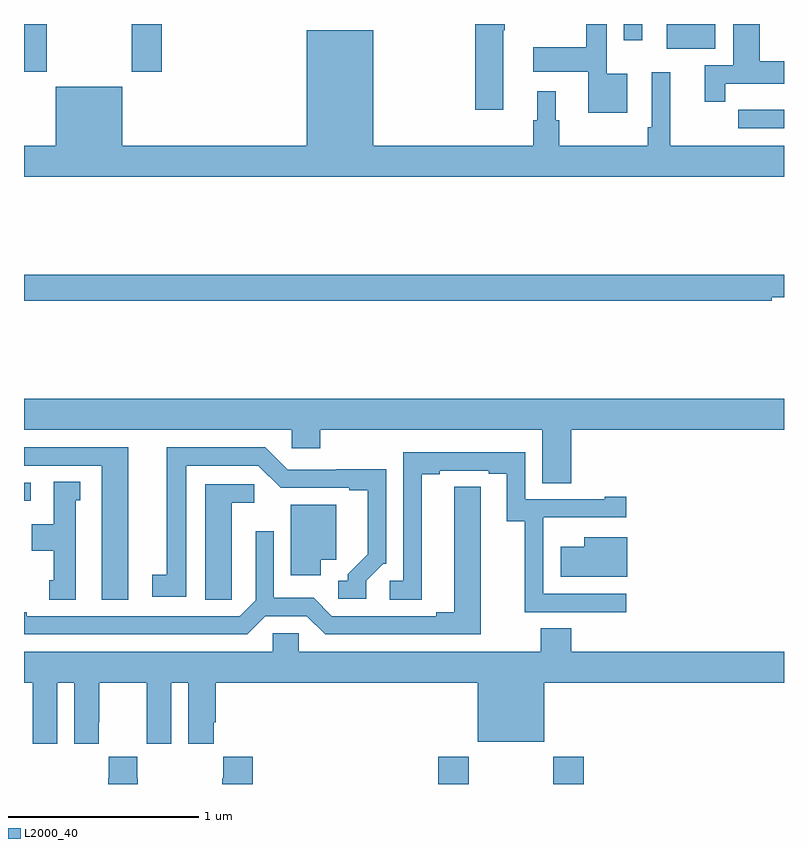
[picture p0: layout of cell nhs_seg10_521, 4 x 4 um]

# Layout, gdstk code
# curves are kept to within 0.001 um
import gdstk
lib = gdstk.Library(unit=1e-6, precision=1e-09)
def R(c, l, rs):  # rectangles x0, y0, x1, y1
    for r in rs: c.add(gdstk.rectangle(r[:2], r[2:], *l))
def P(c, l, *ps):  # polygons
    for p in ps: c.add(gdstk.Polygon(p, *l))
L2000_40 = (2000, 40)

nhs_seg10_521 = lib.new_cell('nhs_seg10_521')
R(nhs_seg10_521, L2000_40, [(139.181,1250.5,139.341,1250.644), (139.786,1250.5,139.946,1250.644), (137,1251.99,137.035,1252.086), (137,1254.249,137.121,1254.5), (137.566,1254.249,137.726,1254.5), (140.384,1254.371,140.638,1254.5), (140.157,1254.414,140.254,1254.5)])
P(nhs_seg10_521, L2000_40, [(140.176,1254.238),(140.067,1254.238),(140.067,1254.5),(139.959,1254.5),(139.959,1254.378),(139.68,1254.378),(139.68,1254.248),(139.97,1254.248),(139.97,1254.032),(140.176,1254.032)],
  [(140.69,1254.186),(141,1254.186),(141,1254.303),(140.872,1254.303),(140.872,1254.5),(140.732,1254.5),(140.732,1254.282),(140.582,1254.282),(140.582,1254.09),(140.69,1254.09)],
  [(139.522,1254.466),(139.53,1254.466),(139.53,1254.5),(139.376,1254.5),(139.376,1254.048),(139.522,1254.048)],
  [(137.168,1254.169),(137.168,1253.86),(137,1253.86),(137,1253.696),(141,1253.696),(141,1253.86),(140.402,1253.86),(140.402,1254.247),(140.304,1254.247),(140.304,1253.956),(140.284,1253.956),(140.284,1253.86),(139.817,1253.86),(139.817,1253.994),(139.798,1253.994),(139.798,1254.145),(139.7,1254.145),(139.7,1253.994),(139.681,1253.994),(139.681,1253.86),(138.838,1253.86),(138.838,1254.466),(138.488,1254.466),(138.488,1253.86),(137.518,1253.86),(137.518,1254.169)],
  [(141,1254.049),(140.872,1254.049),(140.872,1254.048),(140.76,1254.048),(140.76,1253.952),(141,1253.952)],
  [(140.936,1253.063),(141,1253.063),(141,1253.18),(137,1253.18),(137,1253.044),(140.936,1253.044)],
  [(139.88,1252.364),(141,1252.364),(141,1252.528),(137,1252.528),(137,1252.364),(138.408,1252.364),(138.408,1252.266),(138.56,1252.266),(138.56,1252.364),(139.727,1252.364),(139.727,1252.084),(139.88,1252.084)],
  [(137.548,1252.272),(137,1252.272),(137,1252.176),(137.408,1252.176),(137.408,1251.471),(137.548,1251.471)],
  [(138.801,1251.57),(138.891,1251.66),(138.906,1251.66),(138.906,1252.157),(138.643,1252.157),(138.643,1252.155),(138.387,1252.155),(138.27,1252.272),(137.75,1252.272),(137.75,1251.602),(137.676,1251.602),(137.676,1251.486),(137.854,1251.486),(137.854,1252.176),(138.234,1252.176),(138.351,1252.059),(138.713,1252.059),(138.713,1252.047),(138.809,1252.047),(138.809,1251.71),(138.704,1251.605),(138.704,1251.57),(138.654,1251.57),(138.654,1251.474),(138.801,1251.474)],
  [(140.17,1251.501),(139.734,1251.501),(139.734,1251.902),(139.736,1251.902),(139.736,1251.903),(140.17,1251.903),(140.17,1252.012),(140.057,1252.012),(140.057,1251.999),(139.638,1251.999),(139.638,1252.245),(138.996,1252.245),(138.996,1251.57),(138.924,1251.57),(138.924,1251.469),(139.093,1251.469),(139.093,1252.129),(139.189,1252.129),(139.189,1252.149),(139.445,1252.149),(139.445,1252.134),(139.541,1252.134),(139.541,1251.883),(139.636,1251.883),(139.636,1251.405),(140.17,1251.405)],
  [(137.272,1251.993),(137.296,1251.993),(137.296,1252.091),(137.156,1252.091),(137.156,1251.868),(137.042,1251.868),(137.042,1251.728),(137.156,1251.728),(137.156,1251.573),(137.132,1251.573),(137.132,1251.471),(137.272,1251.471)],
  [(138.093,1251.577),(138.094,1251.577),(138.094,1251.98),(138.211,1251.98),(138.211,1252.077),(137.954,1252.077),(137.954,1251.469),(138.093,1251.469)],
  [(138.271,1251.384),(138.489,1251.384),(138.585,1251.288),(139.405,1251.288),(139.404,1252.064),(139.265,1252.064),(139.265,1251.404),(139.169,1251.404),(139.169,1251.384),(138.621,1251.384),(138.525,1251.48),(138.315,1251.48),(138.315,1251.829),(138.219,1251.829),(138.219,1251.468),(138.135,1251.384),(137.014,1251.384),(137.014,1251.404),(137,1251.404),(137,1251.288),(138.175,1251.288)],
  [(138.562,1251.68),(138.643,1251.68),(138.643,1251.97),(138.404,1251.97),(138.404,1251.6),(138.562,1251.6)],
  [(140.176,1251.799),(139.949,1251.799),(139.949,1251.748),(139.824,1251.748),(139.824,1251.59),(140.176,1251.59)],
  [(137.176,1251.032),(137.264,1251.032),(137.264,1250.712),(137.394,1250.712),(137.394,1250.824),(137.395,1250.824),(137.395,1251.032),(137.645,1251.032),(137.645,1250.824),(137.646,1250.824),(137.646,1250.712),(137.776,1250.712),(137.776,1251.032),(137.864,1251.032),(137.864,1250.712),(137.998,1250.712),(137.998,1250.824),(138.008,1250.824),(138.008,1251.032),(139.388,1251.032),(139.388,1250.723),(139.738,1250.723),(139.738,1251.032),(141,1251.032),(141,1251.196),(139.88,1251.196),(139.88,1251.32),(139.72,1251.32),(139.72,1251.196),(138.447,1251.196),(138.447,1251.294),(138.309,1251.294),(138.309,1251.196),(137,1251.196),(137,1251.032),(137.045,1251.032),(137.045,1250.824),(137.046,1250.824),(137.046,1250.712),(137.176,1250.712)],
  [(137.598,1250.531),(137.595,1250.531),(137.595,1250.644),(137.445,1250.644),(137.445,1250.531),(137.443,1250.531),(137.443,1250.5),(137.598,1250.5)],
  [(138.203,1250.644),(138.049,1250.644),(138.049,1250.531),(138.043,1250.531),(138.043,1250.5),(138.203,1250.5)])

lib.write_gds('nhs_seg10_521.gds')
